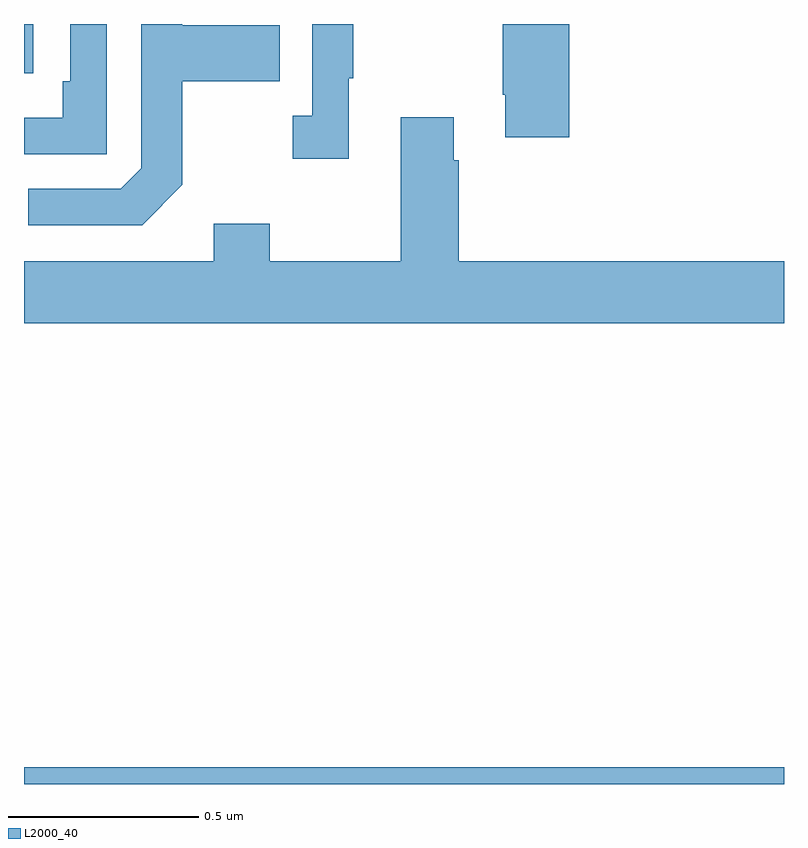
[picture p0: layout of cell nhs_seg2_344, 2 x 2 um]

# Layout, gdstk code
import gdstk
lib = gdstk.Library(unit=1e-6, precision=1e-09)
def R(c, l, rs):  # rectangles x0, y0, x1, y1
    for r in rs: c.add(gdstk.rectangle(r[:2], r[2:], *l))
def P(c, l, *ps):  # polygons
    for p in ps: c.add(gdstk.Polygon(p, *l))
L2000_40 = (2000, 40)

nhs_seg2_344 = lib.new_cell('nhs_seg2_344')
R(nhs_seg2_344, L2000_40, [(115,603.8,117,603.844), (115,605.67,115.024,605.8)])
P(nhs_seg2_344, L2000_40, [(116.435,605.8),(116.26,605.8),(116.26,605.614),(116.267,605.614),(116.267,605.502),(116.435,605.502)],
  [(115.218,605.8),(115.122,605.8),(115.122,605.65),(115.102,605.65),(115.102,605.553),(115,605.553),(115,605.457),(115.218,605.457)],
  [(115.855,605.657),(115.867,605.657),(115.867,605.8),(115.758,605.8),(115.758,605.558),(115.707,605.558),(115.707,605.445),(115.855,605.445)],
  [(115.417,605.377),(115.417,605.65),(115.673,605.65),(115.673,605.797),(115.417,605.797),(115.417,605.8),(115.308,605.8),(115.308,605.421),(115.254,605.367),(115.011,605.367),(115.011,605.271),(115.311,605.271)],
  [(117,605.176),(116.144,605.176),(116.144,605.441),(116.131,605.441),(116.131,605.554),(115.991,605.554),(115.991,605.176),(115.647,605.176),(115.647,605.275),(115.499,605.275),(115.499,605.176),(115,605.176),(115,605.012),(117,605.012)])

lib.write_gds('nhs_seg2_344.gds')
